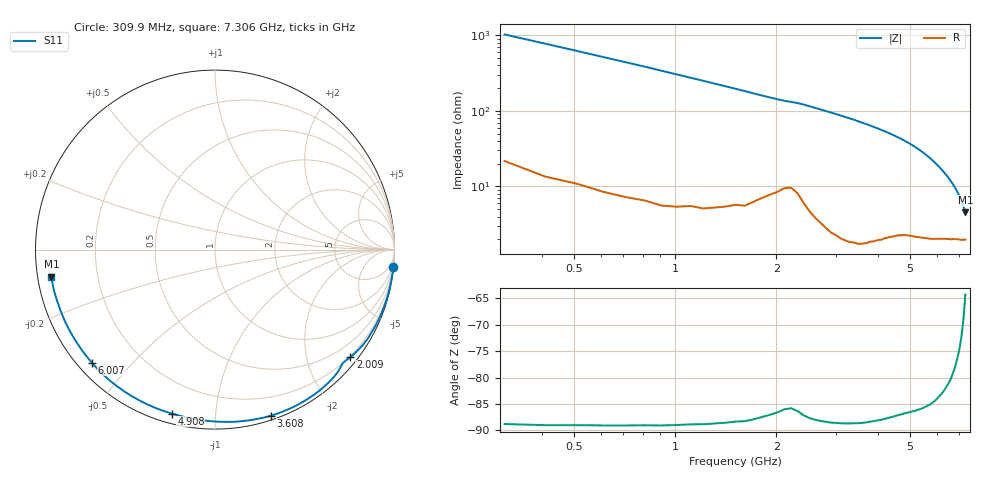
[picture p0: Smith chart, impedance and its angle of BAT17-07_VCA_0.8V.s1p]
! Infineon Technologies  Discrete & RF Semiconductors
! BAT17-07
! VCA = 0.8 V
! One-Port S-Parameters
# Hz  S  MA  R  50
!f  S11
!Hz  Mag  Ang
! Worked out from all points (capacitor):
!   71 points, 309.9 MHz to 7.306 GHz, reference 50 ohm
!   read as one part to ground: C = 501 fF near 309.9 MHz
!   lowest |Z| = 4.57 ohm at 7.306 GHz (marker M1)
!   S11 on the Smith chart (normalised r, x): 309.9 MHz: 0, -21; 2.009 GHz: 0.17, -2.85; 3.608 GHz: 0.04, -1.39; 4.908 GHz: 0.05, -0.77; 6.007 GHz: 0.04, -0.39; 7.306 GHz: 0.04, -0.08
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3.0985e8  0.998 -5.6
8.096e8  0.9957 -14.8
1.2094e9  0.9922 -22.6
1.6092e9  0.9846 -30.6
1.8091e9  0.9752 -34.7
2.009e9  0.9638 -38.5
2.10895e9  0.956 -40.2
2.30885e9  0.9571 -42.9
2.50875e9  0.9708 -46.9
2.8086e9  0.9775 -53.3
3.0085e9  0.9792 -57.6
3.30835e9  0.9794 -64.4
3.6082e9  0.9764 -71.4
3.8081e9  0.972 -76.1
4.10795e9  0.9655 -83.5
4.30785e9  0.9595 -88.6
4.50775e9  0.9541 -93.8
4.70765e9  0.949 -99.3
4.90755e9  0.9449 -104.8
5.2074e9  0.9415 -113.6
5.4073e9  0.9391 -119.6
5.6072e9  0.9368 -125.6
6.007e9  0.9319 -137.5
6.2069e9  0.9295 -143.1
6.50675e9  0.9271 -151.1
6.90655e9  0.9247 -161.0
7.10645e9  0.9252 -165.8
7.30635e9  0.9242 -170.6
